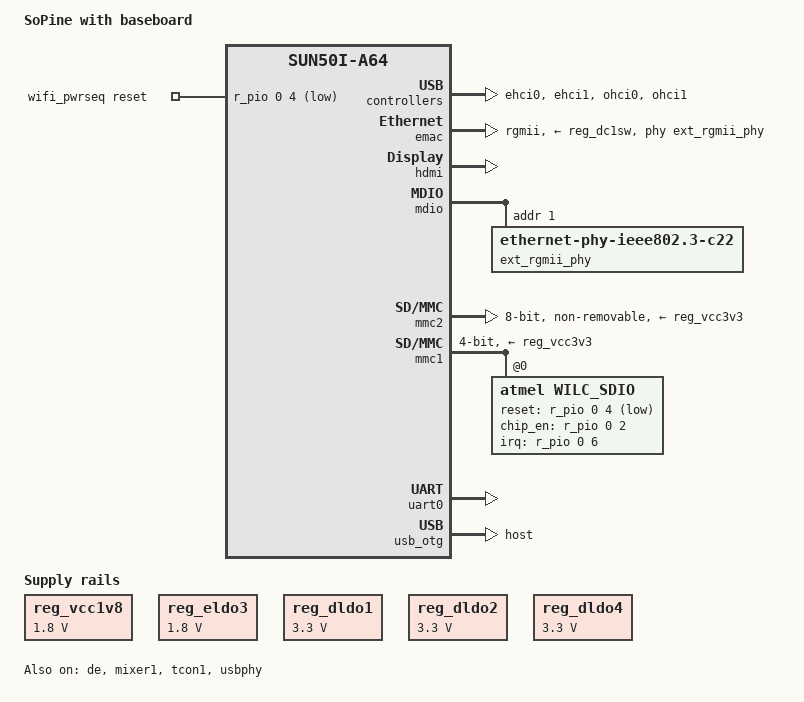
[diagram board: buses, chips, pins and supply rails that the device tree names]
/*
 * Copyright (c) 2017 Icenowy Zheng <icenowy@aosc.xyz>
 *
 * Based on sun50i-a64-pine64.dts, which is:
 *   Copyright (c) 2016 ARM Ltd.
 *
 * This file is dual-licensed: you can use it either under the terms
 * of the GPL or the X11 license, at your option. Note that this dual
 * licensing only applies to this file, and not this project as a
 * whole.
 *
 *  a) This library is free software; you can redistribute it and/or
 *     modify it under the terms of the GNU General Public License as
 *     published by the Free Software Foundation; either version 2 of the
 *     License, or (at your option) any later version.
 *
 *     This library is distributed in the hope that it will be useful,
 *     but WITHOUT ANY WARRANTY; without even the implied warranty of
 *     MERCHANTABILITY or FITNESS FOR A PARTICULAR PURPOSE.  See the
 *     GNU General Public License for more details.
 *
 * Or, alternatively,
 *
 *  b) Permission is hereby granted, free of charge, to any person
 *     obtaining a copy of this software and associated documentation
 *     files (the "Software"), to deal in the Software without
 *     restriction, including without limitation the rights to use,
 *     copy, modify, merge, publish, distribute, sublicense, and/or
 *     sell copies of the Software, and to permit persons to whom the
 *     Software is furnished to do so, subject to the following
 *     conditions:
 *
 *     The above copyright notice and this permission notice shall be
 *     included in all copies or substantial portions of the Software.
 *
 *     THE SOFTWARE IS PROVIDED "AS IS", WITHOUT WARRANTY OF ANY KIND,
 *     EXPRESS OR IMPLIED, INCLUDING BUT NOT LIMITED TO THE WARRANTIES
 *     OF MERCHANTABILITY, FITNESS FOR A PARTICULAR PURPOSE AND
 *     NONINFRINGEMENT. IN NO EVENT SHALL THE AUTHORS OR COPYRIGHT
 *     HOLDERS BE LIABLE FOR ANY CLAIM, DAMAGES OR OTHER LIABILITY,
 *     WHETHER IN AN ACTION OF CONTRACT, TORT OR OTHERWISE, ARISING
 *     FROM, OUT OF OR IN CONNECTION WITH THE SOFTWARE OR THE USE OR
 *     OTHER DEALINGS IN THE SOFTWARE.
 */

/dts-v1/;

#include "sun50i-a64-sopine.dtsi"
#include <dt-bindings/gpio/gpio.h>
#include <dt-bindings/input/input.h>
#include <dt-bindings/pwm/pwm.h>

/ {
	model = "SoPine with baseboard";
	compatible = "pine64,sopine-baseboard", "pine64,sopine",
		     "allwinner,sun50i-a64";

	aliases {
		ethernet0 = &emac;
		serial0 = &uart0;
	};

	chosen {
		stdout-path = "serial0:115200n8";
	};

	reg_vcc1v8: vcc1v8 {
		compatible = "regulator-fixed";
		regulator-name = "vcc1v8";
		regulator-min-microvolt = <1800000>;
		regulator-max-microvolt = <1800000>;
	};
	wifi_pwrseq: wifi_pwrseq {
		compatible = "mmc-pwrseq-simple";
		reset-gpios = <&r_pio 0 4 GPIO_ACTIVE_LOW>; 
	};
};

&de {
	status = "okay";
};

&ehci0 {
	status = "okay";
};

&ehci1 {
	status = "okay";
};

&emac {
	pinctrl-names = "default";
	pinctrl-0 = <&rgmii_pins>;
	phy-mode = "rgmii";
	phy-handle = <&ext_rgmii_phy>;
	phy-supply = <&reg_dc1sw>;
	status = "okay";
};

&hdmi {
	hvcc-supply = <&reg_dldo1>;
	status = "okay";
};

&mdio {
	ext_rgmii_phy: ethernet-phy@1 {
		compatible = "ethernet-phy-ieee802.3-c22";
		reg = <1>;
	};
};

&mixer1 {
	status = "okay";
};

&mmc2 {
	pinctrl-names = "default";
	pinctrl-0 = <&mmc2_pins>;
	vmmc-supply = <&reg_vcc3v3>;
	vqmmc-supply = <&reg_vcc1v8>;
	bus-width = <8>;
	non-removable;
	cap-mmc-hw-reset;
	status = "okay";
};

&reg_eldo3 {
	regulator-always-on;
	regulator-min-microvolt = <1800000>;
	regulator-max-microvolt = <1800000>;
	regulator-name = "vdd-1v8-wifi";
};

&mmc1 {
	pinctrl-names = "default";
	pinctrl-0 = <&mmc1_pins>;
	vmmc-supply = <&reg_vcc3v3>;
	vqmmc-supply = <&reg_eldo1>;
	mmc-pwrseq = <&wifi_pwrseq>;
	bus-width = <4>;
	cap-mmc-hw-reset;
	/*non-removable;*/
	broken-cd;
	/*cd-gpios = <&r_pio 0 3 GPIO_ACTIVE_HIGH>;*/
	/*cd-inverted;*/
	/*max-frequency = <20000000>;*/
	status = "okay";
	/* wilc1000 is powered by DLDO4 @ 3.3V and ELDO1/3 @ 1.8V - core must rise before/with i/o */
	wilc_sdio: wilc_sdio@0 {
	    compatible = "atmel,wilc_sdio";
		reg = <0>;
		gpio_reset = <&r_pio 0 4 GPIO_ACTIVE_LOW>;
		gpio_chip_en = <&r_pio 0 2 GPIO_ACTIVE_HIGH>;
	    gpio_irq = <&r_pio 0 6 IRQ_TYPE_LEVEL_LOW>;
	};
};

&ohci0 {
	status = "okay";
};

&ohci1 {
	status = "okay";
};

&reg_dc1sw {
    regulator-always-on;
	regulator-name = "vcc-phy";
};

&reg_dldo1 {
	regulator-min-microvolt = <3300000>;
	regulator-max-microvolt = <3300000>;
	regulator-name = "vcc-hdmi";
};

&reg_dldo2 {
	regulator-min-microvolt = <3300000>;
	regulator-max-microvolt = <3300000>;
	regulator-name = "vcc-mipi";
};

&reg_dldo4 {
	regulator-min-microvolt = <3300000>;
	regulator-max-microvolt = <3300000>;
	regulator-name = "vcc-wifi";
};

&tcon1 {
	status = "okay";
};

&uart0 {
	pinctrl-names = "default";
	pinctrl-0 = <&uart0_pins_a>;
	status = "okay";
};

&usb_otg {
	dr_mode = "host";
	status = "okay";
};

&usbphy {
	status = "okay";
};
